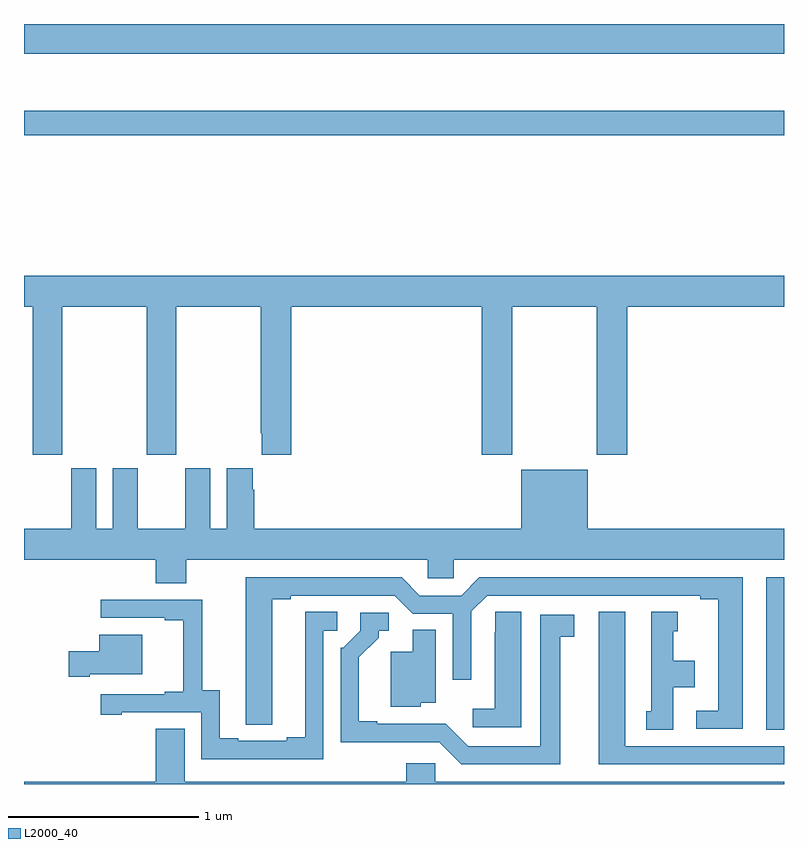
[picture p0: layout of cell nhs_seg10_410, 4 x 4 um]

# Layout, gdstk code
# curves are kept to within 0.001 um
import gdstk
lib = gdstk.Library(unit=1e-6, precision=1e-09)
def R(c, l, rs):  # rectangles x0, y0, x1, y1
    for r in rs: c.add(gdstk.rectangle(r[:2], r[2:], *l))
def P(c, l, *ps):  # polygons
    for p in ps: c.add(gdstk.Polygon(p, *l))
L2000_40 = (2000, 40)

nhs_seg10_410 = lib.new_cell('nhs_seg10_410')
R(nhs_seg10_410, L2000_40, [(134.906,1268.785,135,1269.588), (131,1271.914,135,1272.043), (131,1272.344,135,1272.5)])
P(nhs_seg10_410, L2000_40, [(131.202,1271.012),(131.647,1271.012),(131.647,1270.233),(131.802,1270.233),(131.802,1271.012),(132.247,1271.012),(132.247,1270.345),(132.251,1270.345),(132.251,1270.233),(132.407,1270.233),(132.407,1271.012),(133.409,1271.012),(133.409,1270.233),(133.569,1270.233),(133.569,1271.012),(134.014,1271.012),(134.014,1270.233),(134.174,1270.233),(134.174,1271.012),(135,1271.012),(135,1271.176),(131,1271.176),(131,1271.012),(131.047,1271.012),(131.047,1270.233),(131.202,1270.233)],
  [(131.853,1269.68),(133.125,1269.68),(133.125,1269.582),(133.263,1269.582),(133.263,1269.68),(135,1269.68),(135,1269.844),(133.966,1269.844),(133.966,1270.153),(133.616,1270.153),(133.616,1269.844),(132.212,1269.844),(132.212,1270.049),(132.205,1270.049),(132.205,1270.162),(132.068,1270.162),(132.068,1269.844),(131.98,1269.844),(131.98,1270.162),(131.849,1270.162),(131.849,1269.844),(131.599,1269.844),(131.599,1270.162),(131.468,1270.162),(131.468,1269.844),(131.38,1269.844),(131.38,1270.162),(131.249,1270.162),(131.249,1269.844),(131,1269.844),(131,1269.68),(131.693,1269.68),(131.693,1269.556),(131.853,1269.556)],
  [(134.782,1269.588),(133.397,1269.588),(133.301,1269.492),(133.083,1269.492),(132.987,1269.588),(132.167,1269.588),(132.168,1268.812),(132.307,1268.812),(132.307,1269.472),(132.403,1269.472),(132.403,1269.492),(132.951,1269.492),(133.047,1269.396),(133.257,1269.396),(133.257,1269.048),(133.353,1269.048),(133.353,1269.408),(133.437,1269.492),(134.558,1269.492),(134.558,1269.472),(134.654,1269.472),(134.654,1268.886),(134.538,1268.886),(134.538,1268.79),(134.782,1268.79)],
  [(132.576,1269.306),(132.649,1269.306),(132.649,1269.407),(132.479,1269.407),(132.479,1268.747),(132.383,1268.747),(132.383,1268.727),(132.127,1268.727),(132.127,1268.742),(132.031,1268.742),(132.031,1268.993),(131.937,1268.993),(131.937,1269.471),(131.403,1269.471),(131.403,1269.375),(131.741,1269.375),(131.741,1269.363),(131.837,1269.363),(131.837,1268.986),(131.741,1268.986),(131.741,1268.973),(131.403,1268.973),(131.403,1268.865),(131.515,1268.865),(131.515,1268.877),(131.934,1268.877),(131.934,1268.631),(132.576,1268.631)],
  [(133.618,1269.407),(133.479,1269.407),(133.479,1269.299),(133.478,1269.299),(133.478,1268.896),(133.362,1268.896),(133.362,1268.799),(133.618,1268.799)],
  [(135,1268.7),(134.164,1268.7),(134.164,1269.406),(134.024,1269.406),(134.024,1268.604),(135,1268.604)],
  [(134.416,1269.008),(134.53,1269.008),(134.53,1269.148),(134.416,1269.148),(134.416,1269.303),(134.44,1269.303),(134.44,1269.406),(134.3,1269.406),(134.3,1268.883),(134.276,1268.883),(134.276,1268.785),(134.416,1268.785)],
  [(133.822,1269.274),(133.897,1269.274),(133.897,1269.39),(133.718,1269.39),(133.718,1268.7),(133.338,1268.7),(133.221,1268.817),(132.859,1268.817),(132.859,1268.83),(132.763,1268.83),(132.763,1269.166),(132.868,1269.271),(132.868,1269.306),(132.919,1269.306),(132.919,1269.402),(132.771,1269.402),(132.771,1269.306),(132.681,1269.216),(132.666,1269.216),(132.666,1268.72),(133.185,1268.721),(133.302,1268.604),(133.822,1268.604)],
  [(133.089,1268.927),(133.168,1268.927),(133.168,1269.311),(133.046,1269.311),(133.046,1269.196),(132.929,1269.196),(132.929,1268.906),(133.089,1268.906)],
  [(131.347,1269.077),(131.623,1269.077),(131.623,1269.286),(131.396,1269.286),(131.396,1269.199),(131.235,1269.199),(131.235,1269.065),(131.347,1269.065)],
  [(135,1268.512),(133.164,1268.512),(133.164,1268.61),(133.013,1268.61),(133.013,1268.512),(131.845,1268.512),(131.845,1268.792),(131.693,1268.792),(131.693,1268.512),(131,1268.512),(131,1268.5),(135,1268.5)])

lib.write_gds('nhs_seg10_410.gds')
